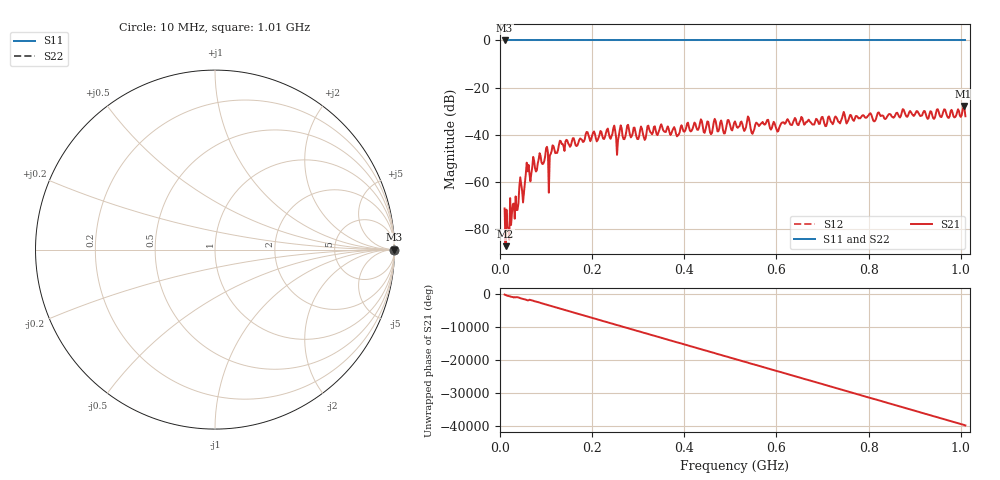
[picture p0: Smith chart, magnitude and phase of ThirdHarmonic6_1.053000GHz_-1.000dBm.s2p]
! 8/16/2025 9:20:16 AM
! C:\ANRITSUVNA\TEMP\TEMP.S2P
! CHANNEL.1
! TR.MEASUREMENT
! RAW.DATA
! RF.CORRECTION.OFF
! AVERAGING.OFF
! IF.BANDWIDTH: 5KHZ
! SWEEPTYPE:  FREQ.SWEEP(Linear)
! Reference Plane Port Info
! PORT:  PORT1  PORT2
! DISTANCE:  0  m  0  m
! TIME:  0  s  0  s
! PHASE.OFFSET:  0  deg.  0  deg.
! LOSS:  0  dB  0  dB
! REF.LOSS:  0  dB  0  dB
! REF.FREQ:  0  Hz  0  Hz
! Power Info
! POWER:  -20  dBm  -20  dBm
! EFF.POWER:  -20  dBm  -20  dBm
! SOURCE.ATTEN:  0  dB  0  dB
! TEST.ATTEN:  0  dB  0  dB
# GHZ S RI R 50.0
! FREQ.GHZ  S11RE  S11IM  S21RE  S21IM  S12RE  S12IM  S22RE  S22IM
!; PortSelection: Port_12
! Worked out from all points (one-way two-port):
!   501 points, 10 MHz to 1.01 GHz, reference 50 ohm
!   highest |S21| = -27.72 dB at 1.006 GHz (marker M1); lowest = -87.2 dB at 12 MHz (marker M2)
!   lowest |S11| = 0.0 dB at 10 MHz (marker M3)
!   |S11| at or under -10 dB: nowhere
!   |S22| runs from 0.0 to 0.0 dB; largest |S21 - S12| = 1
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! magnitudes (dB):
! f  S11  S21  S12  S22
! 10 MHz  0.0  -71.2  0.0  0.0
! 12 MHz  0.0  -87.2  0.0  0.0
! 16 MHz  0.0  -79.2  0.0  0.0
! 26 MHz  0.0  -72.9  0.0  0.0
! 36 MHz  0.0  -71.9  0.0  0.0
! 44 MHz  0.0  -58.0  0.0  0.0
! 60 MHz  0.0  -55.5  0.0  0.0
! 100 MHz  0.0  -45.7  0.0  0.0
! 108 MHz  0.0  -48.8  0.0  0.0
! 112 MHz  0.0  -47.0  0.0  0.0
! 132 MHz  0.0  -42.7  0.0  0.0
! 178 MHz  0.0  -42.2  0.0  0.0
! 344 MHz  0.0  -38.9  0.0  0.0
! 510 MHz  0.0  -34.3  0.0  0.0
! 540 MHz  0.0  -32.8  0.0  0.0
! 548 MHz  0.0  -39.6  0.0  0.0
! 578 MHz  0.0  -34.6  0.0  0.0
! 602 MHz  0.0  -38.6  0.0  0.0
! 678 MHz  0.0  -35.6  0.0  0.0
! 844 MHz  0.0  -31.2  0.0  0.0
! 1.006 GHz  0.0  -27.7  0.0  0.0
! 1.01 GHz  0.0  -32.1  0.0  0.0
